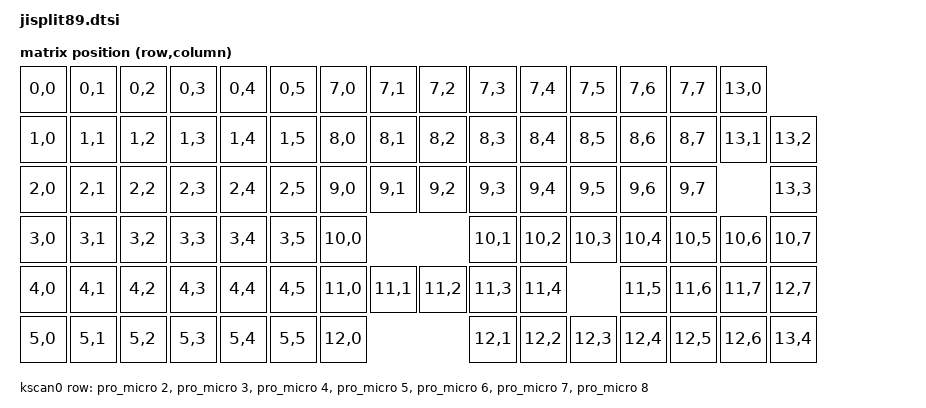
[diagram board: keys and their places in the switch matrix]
#include <dt-bindings/zmk/matrix_transform.h>

/ {
    chosen {
        zmk,kscan = &kscan0;
        zmk,matrix_transform = &default_transform;
    };

    default_transform: keymap_transform_0 {
        compatible = "zmk,matrix-transform";
        columns = <8>;
        rows = <14>;
        // 89-key split keyboard mapped according to QMK keyboard.json
        // Left side: matrix rows 0-6, cols 0-7
        // Right side: matrix rows 7-13, cols 0-7
        map = <
// Physical Row 0 (top row): ESC(0,0), F1(0,1)-F5(0,5), F6(7,0), F7(7,1), F8(7,2), F9(7,3), F10(7,4), F11(7,5), F12(7,6), Ins(7,7), PrtSc(13,0)
RC(0,0)  RC(0,1) RC(0,2) RC(0,3) RC(0,4) RC(0,5)                     RC(7,0) RC(7,1) RC(7,2) RC(7,3) RC(7,4) RC(7,5) RC(7,6) RC(7,7) RC(13,0)
// Physical Row 1: Zenkaku(1,0), 1(1,1)-5(1,5), 6(8,0)-0(8,4), -(8,5), ^(8,6), Yen(8,7), BS(13,1), Del(13,2)
RC(1,0)  RC(1,1) RC(1,2) RC(1,3) RC(1,4) RC(1,5)                     RC(8,0) RC(8,1) RC(8,2) RC(8,3) RC(8,4) RC(8,5) RC(8,6) RC(8,7) RC(13,1) RC(13,2)
// Physical Row 2: Tab(2,0), Q(2,1), W(2,2), E(2,3), R(2,4), T(2,5), Y(9,0), U(9,1), I(9,2), O(9,3), P(9,4), @(9,5), [(9,6), Enter(9,7), Home(13,3)
RC(2,0)  RC(2,1) RC(2,2) RC(2,3) RC(2,4) RC(2,5)                     RC(9,0) RC(9,1) RC(9,2) RC(9,3) RC(9,4) RC(9,5) RC(9,6) RC(9,7)          RC(13,3)
// Physical Row 3: Caps(3,0), A(3,1), S(3,2), D(3,3), F(3,4), G(3,5), H(10,0), J(10,1), K(10,2), L(10,3), ;(10,4), :(10,5), ](10,6), End(10,7)
RC(3,0)  RC(3,1) RC(3,2) RC(3,3) RC(3,4) RC(3,5)                     RC(10,0) RC(10,1) RC(10,2) RC(10,3) RC(10,4) RC(10,5) RC(10,6)          RC(10,7)
// Physical Row 4: LShift(4,0), Z(4,1), X(4,2), C(4,3), V(4,4), B(4,5), N(11,0), M(11,1), ,(11,2), .(11,3), /(11,4), \(11,5), PgDn(11,6), Up(11,7), PgUp(12,7)
RC(4,0)  RC(4,1) RC(4,2) RC(4,3) RC(4,4) RC(4,5)                     RC(11,0) RC(11,1) RC(11,2) RC(11,3) RC(11,4) RC(11,5) RC(11,6) RC(11,7) RC(12,7)
// Physical Row 5: LCtrl(5,0), LWin(5,1), LAlt(5,2), Muhenkan(5,3), Space(5,4), Space(5,5), Space(12,0), Space(12,1), Henkan(12,2), Kana(12,3), App(12,4), Left(12,5), Down(12,6), Right(13,4)
RC(5,0)  RC(5,1) RC(5,2) RC(5,3) RC(5,4) RC(5,5)                     RC(12,0) RC(12,1) RC(12,2) RC(12,3) RC(12,4)          RC(12,5) RC(12,6) RC(13,4)
        >;
    };

    kscan0: kscan {
        compatible = "zmk,kscan-gpio-matrix";
        diode-direction = "col2row";
        wakeup-source;

        row-gpios
            = <&pro_micro 2 (GPIO_ACTIVE_HIGH | GPIO_PULL_DOWN)>  // D1
            , <&pro_micro 3 (GPIO_ACTIVE_HIGH | GPIO_PULL_DOWN)>  // D0
            , <&pro_micro 4 (GPIO_ACTIVE_HIGH | GPIO_PULL_DOWN)>  // D4
            , <&pro_micro 5 (GPIO_ACTIVE_HIGH | GPIO_PULL_DOWN)>  // C6
            , <&pro_micro 6 (GPIO_ACTIVE_HIGH | GPIO_PULL_DOWN)>  // D7
            , <&pro_micro 7 (GPIO_ACTIVE_HIGH | GPIO_PULL_DOWN)>  // E6
            , <&pro_micro 8 (GPIO_ACTIVE_HIGH | GPIO_PULL_DOWN)>  // B4
            ;
        // col-gpios defined in left/right overlays
    };
};
